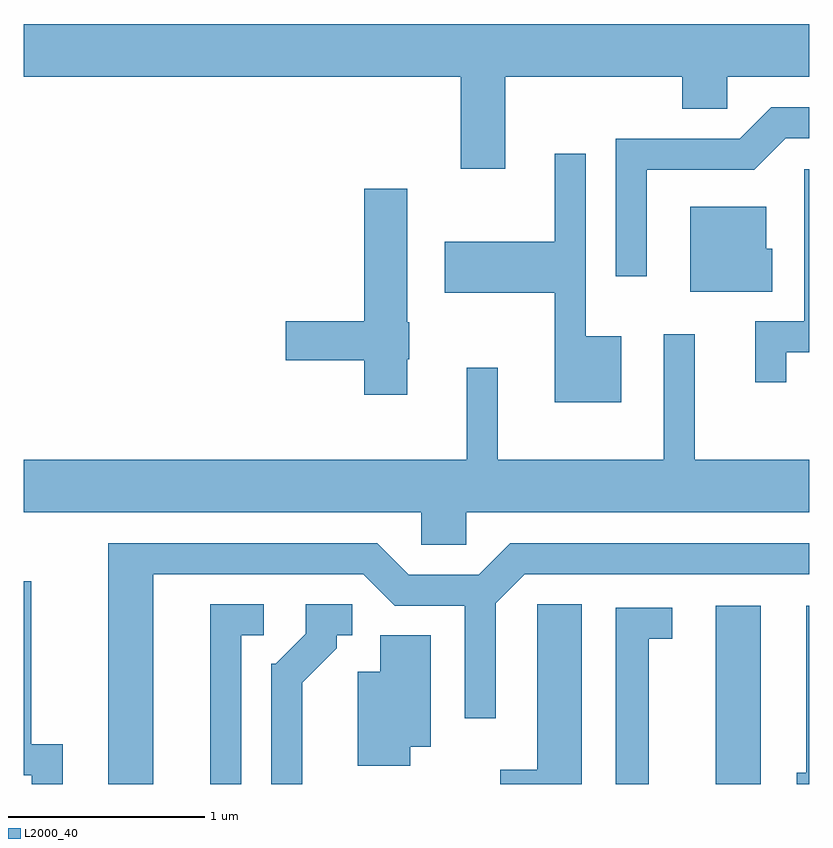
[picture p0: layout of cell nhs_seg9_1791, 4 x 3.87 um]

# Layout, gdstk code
import gdstk
lib = gdstk.Library(unit=1e-6, precision=1e-09)
def R(c, l, rs):  # rectangles x0, y0, x1, y1
    for r in rs: c.add(gdstk.rectangle(r[:2], r[2:], *l))
def P(c, l, *ps):  # polygons
    for p in ps: c.add(gdstk.Polygon(p, *l))
L2000_40 = (2000, 40)

nhs_seg9_1791 = lib.new_cell('nhs_seg9_1791')
R(nhs_seg9_1791, L2000_40, [(241.136,1990.432,241.364,1991.339)])
P(nhs_seg9_1791, L2000_40, [(240.064,1994.036),(240.966,1994.036),(240.966,1993.871),(241.194,1993.871),(241.194,1994.036),(241.611,1994.036),(241.611,1994.304),(237.611,1994.304),(237.611,1994.036),(239.836,1994.036),(239.836,1993.566),(240.064,1993.566)],
  [(240.784,1993.561),(241.332,1993.561),(241.492,1993.721),(241.611,1993.721),(241.611,1993.879),(241.419,1993.879),(241.259,1993.719),(240.626,1993.719),(240.626,1993.018),(240.784,1993.018)],
  [(240.654,1992.714),(240.474,1992.714),(240.474,1993.643),(240.316,1993.643),(240.316,1993.194),(239.756,1993.194),(239.756,1992.936),(240.316,1992.936),(240.316,1992.376),(240.654,1992.376)],
  [(241.494,1992.631),(241.611,1992.631),(241.611,1993.564),(241.586,1993.564),(241.586,1992.789),(241.336,1992.789),(241.336,1992.478),(241.494,1992.478)],
  [(239.564,1992.595),(239.574,1992.595),(239.574,1992.785),(239.564,1992.785),(239.564,1993.464),(239.346,1993.464),(239.346,1992.789),(238.946,1992.789),(238.946,1992.591),(239.346,1992.591),(239.346,1992.416),(239.564,1992.416)],
  [(241.424,1993.159),(241.394,1993.159),(241.394,1993.374),(241.006,1993.374),(241.006,1992.941),(241.424,1992.941)],
  [(239.864,1991.816),(241.611,1991.816),(241.611,1992.084),(241.029,1992.084),(241.029,1992.723),(240.871,1992.723),(240.871,1992.084),(240.024,1992.084),(240.024,1992.553),(239.866,1992.553),(239.866,1992.084),(237.611,1992.084),(237.611,1991.816),(239.636,1991.816),(239.636,1991.651),(239.864,1991.651)],
  [(238.269,1991.501),(239.339,1991.501),(239.499,1991.341),(239.856,1991.341),(239.856,1990.768),(240.014,1990.768),(240.014,1991.354),(240.162,1991.501),(241.611,1991.501),(241.611,1991.659),(240.089,1991.659),(239.929,1991.499),(239.572,1991.499),(239.412,1991.659),(238.041,1991.659),(238.041,1990.432),(238.269,1990.432)],
  [(237.809,1990.634),(237.649,1990.634),(237.649,1991.464),(237.611,1991.464),(237.611,1990.476),(237.651,1990.476),(237.651,1990.432),(237.809,1990.432)],
  [(238.719,1991.191),(238.833,1991.191),(238.833,1991.349),(238.561,1991.349),(238.561,1990.432),(238.719,1990.432)],
  [(239.029,1990.949),(239.204,1991.124),(239.204,1991.191),(239.283,1991.191),(239.283,1991.349),(239.046,1991.349),(239.046,1991.197),(238.894,1991.044),(238.871,1991.044),(238.871,1990.432),(239.029,1990.432)],
  [(240.454,1991.349),(240.226,1991.349),(240.226,1990.504),(240.038,1990.504),(240.038,1990.432),(240.454,1990.432)],
  [(241.611,1991.339),(241.596,1991.339),(241.596,1990.489),(241.548,1990.489),(241.548,1990.432),(241.611,1990.432)],
  [(240.794,1991.171),(240.913,1991.171),(240.913,1991.329),(240.626,1991.329),(240.626,1990.432),(240.794,1990.432)],
  [(239.579,1990.621),(239.684,1990.621),(239.684,1991.189),(239.426,1991.189),(239.426,1991.004),(239.311,1991.004),(239.311,1990.526),(239.579,1990.526)])

lib.write_gds('nhs_seg9_1791.gds')
